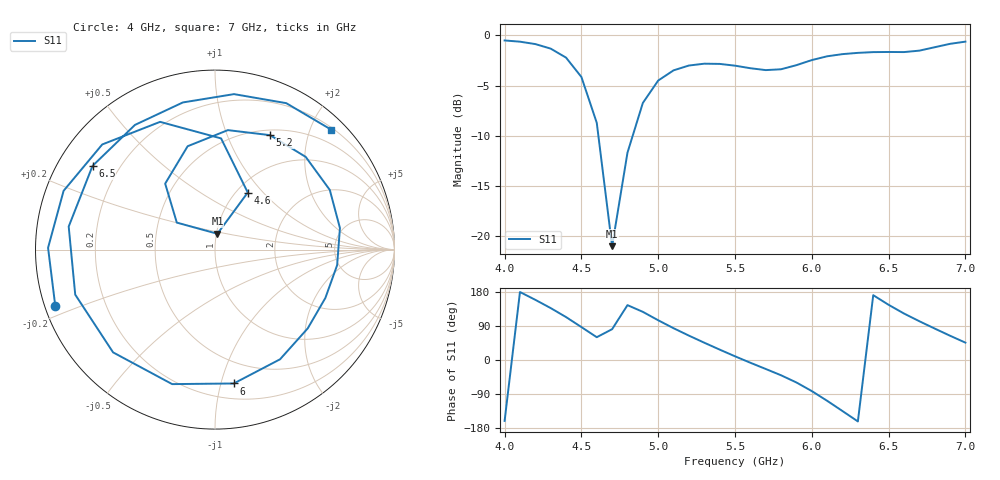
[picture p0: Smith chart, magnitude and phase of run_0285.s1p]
! Touchstone file exported from HFSS 2024.2.0
!  File:  C:/Users/wsak9/Desktop/Sim Fast/Widenad Patch/WP_AI_V1_sweep.aedt
!  Generated:  03:01:54 AM Oct 14, 2026
!  Design:  A1_model
!  Project:  WP_AI_V1_sweep
!  Setup:  Setup1
!  Solution:  Sweep
! Variables:
!  Air_gap = 1.82mm
!  Curve_Amp1 = 2.08
!  Curve_len1 = 1
!  Curve_pos = 11.715mm
!  Extra = 2.98mm
!  H_sub = 0.79mm
!  L_Patch = 19.43mm
!  L_Patch1 = 17.68mm
!  Sx = 4.93mm
!  Sy = 3.91mm
!  WS = 1.4mm
!  W_Patch = 18.76mm
!  W_Patch1 = 14.7mm
!Data is not renormalized
# GHz S MA
! Terminal data exported
! Port[1] = 1
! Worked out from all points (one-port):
!   31 points, 4 GHz to 7 GHz, reference per port
!   lowest |S11| = -21.0 dB at 4.7 GHz (marker M1), VSWR 1.20
!   |S11| at or under -10 dB: 4.61 GHz to 4.834 GHz (223.5 MHz wide, 4.73 % of centre)
!   S11 on the Smith chart (normalised r, x): 4 GHz: 0.03, -0.17; 4.6 GHz: 1.12, +0.83; 5.2 GHz: 0.56, +1.44; 6 GHz: 0.32, -1.10; 6.5 GHz: 0.10, +0.31; 7 GHz: 0.24, +2.34
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4  0.9432 -160.7
4.1  0.9301 179.4
4.2  0.9049 158.8
4.3  0.859 137.0
4.4  0.7747 113.3
4.5  0.6204 86.9
4.6  0.3667 60.1
4.7  0.08914 81.4
4.8  0.2606 144.7
4.9  0.4606 127.1
5  0.5957 104.8
5.1  0.6695 83.9
5.2  0.7076 64.3
5.4  0.7208 27.5
5.5  0.7064 9.8
5.7  0.6714 -23.7
5.9  0.7105 -59.3
6  0.7532 -82.0
6.1  0.7865 -107.7
6.2  0.8064 -134.8
6.3  0.8182 -162.1
6.4  0.8252 171.1
6.5  0.8265 145.6
6.6  0.8255 122.7
6.7  0.8392 102.3
6.8  0.8727 83.0
6.9  0.9073 64.0
7  0.9305 45.9
